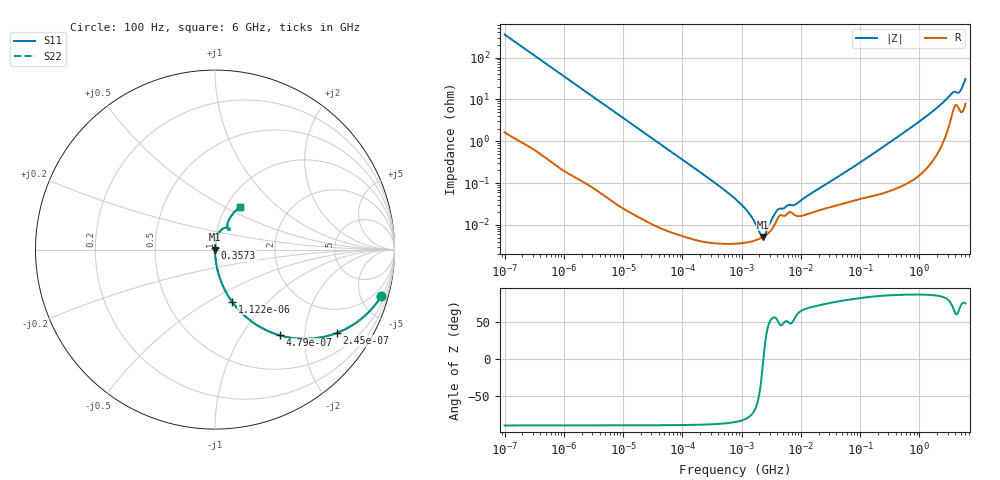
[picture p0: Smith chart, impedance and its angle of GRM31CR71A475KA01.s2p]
!Murata Part Number: GRM31CR71A475KA01
!These Parameters are Measured in Series Mode Connection
!Data Generated on Mar 30, 2021
!  o--ll--o
!Port1  Port2
!  o------o
!Operation Temp=25[degC], DC Bias Voltage=0[V]
!Freq. Start=100[Hz] Stop=6[GHz] 401[Steps]
# Hz S RI R 50
!Freq.(Hz) S11(Real) S11(Imag) S21(Real) S21(Imag) S12(Real) S12(Imag) S22(Real) S22(Imag)
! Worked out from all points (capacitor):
!   401 points, 100 Hz to 6 GHz, reference 50 ohm
!   read as one part in series: C = 4.46 uF near 109 Hz
!   lowest |Z| = 5.17 mohm at 2.269 MHz (marker M1)
!   series resonance near 2.333 MHz, so ESL is about 1 nH
!   S11 on the Smith chart (normalised r, x): 100 Hz: 1.03, -7.13; 245 Hz: 1.02, -2.92; 479 Hz: 1.01, -1.50; 1.122 kHz: 1.00, -0.64; 357.3 MHz: 1.00, +0.02; 6 GHz: 1.16, +0.59
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100  0.9261 -0.2594  0.0739 0.2594  0.0739 0.2594  0.9261 -0.2594
164  0.8252 -0.3774  0.1748 0.3774  0.1748 0.3774  0.8252 -0.3774
245  0.6798 -0.4639  0.3202 0.4639  0.3202 0.4639  0.6798 -0.4639
479  0.3595 -0.4771  0.6405 0.4771  0.6405 0.4771  0.3595 -0.4771
1122  0.0944 -0.2896  0.9056 0.2896  0.9056 0.2896  0.0944 -0.2896
2008  0.0322 -0.1734  0.9678 0.1734  0.9678 0.1734  0.0322 -0.1734
6433  0.00352 -0.056  0.9965 0.056  0.9965 0.056  0.00352 -0.056
40335  0.000168 -0.00903  0.9998 0.00903  0.9998 0.00903  0.000168 -0.00903
774597  3.57e-05 -0.000423  1 0.000423  1 0.000423  3.57e-05 -0.000423
1212075  3.8e-05 -0.000223  1 0.000223  1 0.000223  3.8e-05 -0.000223
1734173  4.3e-05 -9.6e-05  1 9.6e-05  1 9.6e-05  4.3e-05 -9.6e-05
2268635  5.09e-05 -8.9e-06  0.9999 8.9e-06  0.9999 8.9e-06  5.09e-05 -8.9e-06
2837864  6.4e-05 6.5e-05  0.9999 -6.5e-05  0.9999 -6.5e-05  6.4e-05 6.5e-05
4246196  0.000159 0.000183  0.9998 -0.000183  0.9998 -0.000183  0.000159 0.000183
8311524  0.000166 0.000267  0.9998 -0.000267  0.9998 -0.000267  0.000166 0.000267
1.555665e7  0.000198 0.000553  0.9998 -0.000553  0.9998 -0.000553  0.000198 0.000553
3.124326e8  0.000725 0.00923  0.9993 -0.00923  0.9993 -0.00923  0.000725 0.00923
3.573489e8  0.000797 0.0105  0.9992 -0.0105  0.9992 -0.0105  0.000797 0.0105
1.565993e9  0.00519 0.0474  0.9948 -0.0474  0.9948 -0.0474  0.00519 0.0474
3.505958e9  0.0529 0.1207  0.9471 -0.1207  0.9471 -0.1207  0.0529 0.1207
4.586474e9  0.0724 0.113  0.9276 -0.113  0.9276 -0.113  0.0724 0.113
6e9  0.1381 0.2372  0.8619 -0.2372  0.8619 -0.2372  0.1381 0.2372
